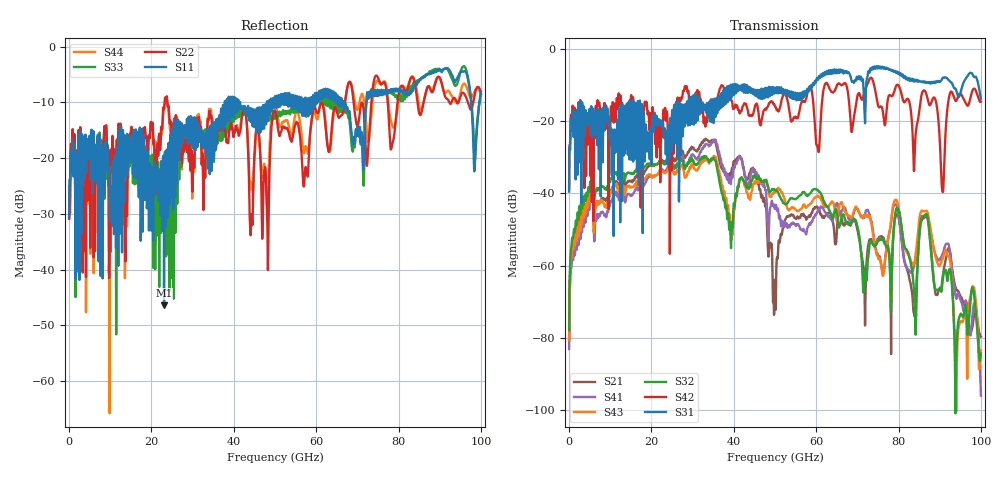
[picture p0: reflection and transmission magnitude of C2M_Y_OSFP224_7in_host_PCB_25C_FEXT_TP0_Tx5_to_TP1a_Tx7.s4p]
# GHz S RI R 45
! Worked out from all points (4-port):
!   4000 points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, 25 MHz to 100 GHz, reference 45 ohm
!   strongest paths, dB at 25 MHz, 25.02 GHz, 50.02 GHz, 75.03 GHz, 100 GHz:
!     S31: -39.5, -17.4, -10.6, -4.9, -13.7
!     S42: -38.8, -30.3, -16.0, -15.6, -14.6
!     S32: -77.9, -31.9, -39.1, -53.1, -84.4
!     S43: -80.7, -33.8, -39.7, -57.7, -83.5
!     S41: -83.1, -32.1, -44.3, -57.1, -96.0
!     S21: -80.7, -29.9, -63.9, -52.5, -79.7
!   lowest |S11| = -46.5 dB at 23.07 GHz (marker M1), VSWR 1.01, Z = 45.3 + j0.31 ohm
!   |S11| at or under -10 dB: start of sweep to 37.8 GHz; 41.53 GHz to 48.03 GHz (6.495 GHz wide, 14.5 % of centre); 66.68 GHz to 72.2 GHz (5.523 GHz wide, 7.95 % of centre) (the widest 3 of 41)
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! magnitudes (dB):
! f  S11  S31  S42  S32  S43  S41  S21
! 25 MHz  -30.6  -39.5  -38.8  -77.9  -80.7  -83.1  -80.7
! 23.07 GHz  -46.5  -24.6  -19.0  -31.9  -34.3  -33.8  -31.2
! 44.67 GHz  -13.2  -12.4  -18.1  -35.2  -37.5  -33.2  -33.0
! 49.88 GHz  -9.9  -11.6  -15.5  -38.9  -39.5  -43.8  -67.6
! 84 GHz  -7.3  -8.5  -26.7  -73.1  -58.4  -58.9  -72.7
! 86.62 GHz  -5.1  -9.3  -12.1  -45.8  -44.8  -45.9  -46.4
! 100 GHz  -8.1  -13.7  -14.6  -84.4  -83.5  -96.0  -79.7
